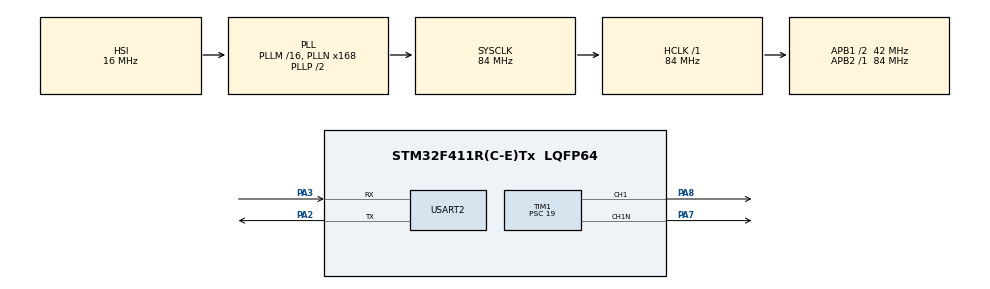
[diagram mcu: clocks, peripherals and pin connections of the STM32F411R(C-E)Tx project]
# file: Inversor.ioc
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Mcu.Family=STM32F4
Mcu.Name=STM32F411R(C-E)Tx
Mcu.Package=LQFP64
NVIC.PriorityGroup=NVIC_PRIORITYGROUP_4
NVIC.TIM1_TRG_COM_TIM11_IRQn=true\:0\:0\:false\:false\:true\:true
NVIC.TIM1_UP_TIM10_IRQn=true\:0\:0\:false\:false\:true\:true
PA2.Mode=Asynchronous
PA2.Signal=USART2_TX
PA3.Mode=Asynchronous
PA3.Signal=USART2_RX
PA7.Mode=PWM Generation1 CH1 CH1N
PA7.Signal=TIM1_CH1N
PA8.Signal=S_TIM1_CH1
ProjectManager.HeapSize=0x200
ProjectManager.StackSize=0x400
ProjectManager.TargetToolchain=SW4STM32
RCC.48MHZClocksFreq_Value=42000000
RCC.AHBFreq_Value=84000000
RCC.APB1CLKDivider=RCC_HCLK_DIV2
RCC.APB1Freq_Value=42000000
RCC.APB1TimFreq_Value=84000000
RCC.APB2Freq_Value=84000000
RCC.APB2TimFreq_Value=84000000
RCC.CortexFreq_Value=84000000
RCC.HCLKFreq_Value=84000000
RCC.HSE_VALUE=25000000
RCC.HSI_VALUE=16000000
RCC.LSE_VALUE=32768
RCC.PLLN=168
RCC.SYSCLKFreq_VALUE=84000000
RCC.SYSCLKSource=RCC_SYSCLKSOURCE_PLLCLK
RCC.VCOOutputFreq_Value=168000000
SH.S_TIM1_CH1.0=TIM1_CH1,PWM Generation1 CH1 CH1N
TIM1.AutomaticOutput=TIM_AUTOMATICOUTPUT_ENABLE
TIM1.Channel-PWM\ Generation1\ CH1\ CH1N=TIM_CHANNEL_1
TIM1.DeadTime=50
TIM1.Period=194
TIM1.Prescaler=19
TIM1.Pulse-PWM\ Generation1\ CH1\ CH1N=100
TIM11.Period=71
TIM11.Prescaler=99
USART2.VirtualMode=VM_ASYNC
VP_TIM11_VS_ClockSourceINT.Mode=Enable_Timer
VP_TIM1_VS_ClockSourceINT.Mode=Internal
board=custom

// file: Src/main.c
/**
 ******************************************************************************
 * @file           : main.c
 * @brief          : Main program body
 ******************************************************************************
 ** This notice applies to any and all portions of this file
 * that are not between comment pairs USER CODE BEGIN and
 * USER CODE END. Other portions of this file, whether
 * inserted by the user or by software development tools
 * are owned by their respective copyright owners.
 *
 * COPYRIGHT(c) 2018 STMicroelectronics
 *
 * Redistribution and use in source and binary forms, with or without modification,
 * are permitted provided that the following conditions are met:
 *   1. Redistributions of source code must retain the above copyright notice,
 *      this list of conditions and the following disclaimer.
 *   2. Redistributions in binary form must reproduce the above copyright notice,
 *      this list of conditions and the following disclaimer in the documentation
 *      and/or other materials provided with the distribution.
 *   3. Neither the name of STMicroelectronics nor the names of its contributors
 *      may be used to endorse or promote products derived from this software
 *      without specific prior written permission.
 *
 * THIS SOFTWARE IS PROVIDED BY THE COPYRIGHT HOLDERS AND CONTRIBUTORS "AS IS"
 * AND ANY EXPRESS OR IMPLIED WARRANTIES, INCLUDING, BUT NOT LIMITED TO, THE
 * IMPLIED WARRANTIES OF MERCHANTABILITY AND FITNESS FOR A PARTICULAR PURPOSE ARE
 * DISCLAIMED. IN NO EVENT SHALL THE COPYRIGHT HOLDER OR CONTRIBUTORS BE LIABLE
 * FOR ANY DIRECT, INDIRECT, INCIDENTAL, SPECIAL, EXEMPLARY, OR CONSEQUENTIAL
 * DAMAGES (INCLUDING, BUT NOT LIMITED TO, PROCUREMENT OF SUBSTITUTE GOODS OR
 * SERVICES; LOSS OF USE, DATA, OR PROFITS; OR BUSINESS INTERRUPTION) HOWEVER
 * CAUSED AND ON ANY THEORY OF LIABILITY, WHETHER IN CONTRACT, STRICT LIABILITY,
 * OR TORT (INCLUDING NEGLIGENCE OR OTHERWISE) ARISING IN ANY WAY OUT OF THE USE
 * OF THIS SOFTWARE, EVEN IF ADVISED OF THE POSSIBILITY OF SUCH DAMAGE.
 *
 ******************************************************************************
 */
#include "main.h"
#include "stm32f4xx_hal.h"

/* USER CODE BEGIN Includes */
#include "math.h"
/* USER CODE END Includes */

TIM_HandleTypeDef htim1;
TIM_HandleTypeDef htim11;

UART_HandleTypeDef huart2;

/* USER CODE BEGIN PV */
/* Private variables ---------------------------------------------------------*/
uint16_t tabela_valores[195] = { 0 };
int value = 0;
/* USER CODE END PV */

void SystemClock_Config(void);
static void MX_GPIO_Init(void);
static void MX_USART2_UART_Init(void);
static void MX_TIM1_Init(void);
static void MX_TIM11_Init(void);
void HAL_TIM_MspPostInit(TIM_HandleTypeDef *htim);

/* USER CODE BEGIN PFP */
/* Private function prototypes -----------------------------------------------*/

/*
 * This interruption is called whenever the TIM11 finishes, in order to update
 * the CCR register of TIM1, to change it's duty cycle
*/
HAL_TIM_PeriodElapsedCallback(TIM_HandleTypeDef *htim) {
	if (htim->Instance == TIM11) {
		value++;
		if (value >= 195)
			value = 0;
		__HAL_TIM_SET_COMPARE(&htim1, TIM_CHANNEL_1, tabela_valores[value]);
	}
}

/* USER CODE END PFP */

int main(void) {

	/* MCU Configuration----------------------------------------------------------*/

	/* Reset of all peripherals, Initializes the Flash interface and the Systick. */
	HAL_Init();

	/* Configure the system clock */
	SystemClock_Config();

	/* Initialize all configured peripherals */
	MX_GPIO_Init();
	MX_USART2_UART_Init();
	MX_TIM1_Init();
	MX_TIM11_Init();
	/* USER CODE BEGIN 2 */

	char freq[5];
	char texto[50];
	int freq_int, size;
	int cont = 0;

	//	Generate an array of points to use as the CCR of the TIM1
	for (float aux = 0; aux < 360; aux += (360. / 195.), cont++) {
		tabela_valores[cont] = (sin(aux * M_PI / 180) * 75) + 98;
	}

	//	Initialize the TIM11 with interruption
	HAL_TIM_Base_Start_IT(&htim11);

	/*	Starts the TIM1 in PWM mode, operating with channel 1 and channel 1
	 *  complementary.
	 *  This complementary channel is basically the PWM but inverted.
	 */
	HAL_TIMEx_PWMN_Start(&htim1, TIM_CHANNEL_1);
	HAL_TIM_PWM_Start_IT(&htim1, TIM_CHANNEL_1);

	__HAL_TIM_SET_COMPARE(&htim1, TIM_CHANNEL_1, tabela_valores[0]);
	/* USER CODE END 2 */

	/* Infinite loop */
	while (1) {

		/* USER CODE BEGIN 3 */

		/*	Checks if the ARM received some value through the serial to
		 *  update the frequency of TIM11
		 */
		if (HAL_UART_Receive(&huart2, freq, 3, 1) == HAL_OK) {

			freq_int = atoi(freq);
			size = sprintf(texto, "Frequência escolhida: %d\n", freq_int);
			HAL_UART_Transmit(&huart2, texto, size, 100);

			__HAL_TIM_SET_PRESCALER(&htim11, 6000 / freq_int);

		}
	}
	/* USER CODE END 3 */

}

void SystemClock_Config(void) {

	RCC_OscInitTypeDef RCC_OscInitStruct;
	RCC_ClkInitTypeDef RCC_ClkInitStruct;

	/**Configure the main internal regulator output voltage
	 */
	__HAL_RCC_PWR_CLK_ENABLE()
	;

	__HAL_PWR_VOLTAGESCALING_CONFIG(PWR_REGULATOR_VOLTAGE_SCALE1);

	/**Initializes the CPU, AHB and APB busses clocks
	 */
	RCC_OscInitStruct.OscillatorType = RCC_OSCILLATORTYPE_HSI;
	RCC_OscInitStruct.HSIState = RCC_HSI_ON;
	RCC_OscInitStruct.HSICalibrationValue = 16;
	RCC_OscInitStruct.PLL.PLLState = RCC_PLL_ON;
	RCC_OscInitStruct.PLL.PLLSource = RCC_PLLSOURCE_HSI;
	RCC_OscInitStruct.PLL.PLLM = 16;
	RCC_OscInitStruct.PLL.PLLN = 168;
	RCC_OscInitStruct.PLL.PLLP = RCC_PLLP_DIV2;
	RCC_OscInitStruct.PLL.PLLQ = 4;
	if (HAL_RCC_OscConfig(&RCC_OscInitStruct) != HAL_OK) {
		_Error_Handler(__FILE__, __LINE__);
	}

	/**Initializes the CPU, AHB and APB busses clocks
	 */
	RCC_ClkInitStruct.ClockType = RCC_CLOCKTYPE_HCLK | RCC_CLOCKTYPE_SYSCLK
			| RCC_CLOCKTYPE_PCLK1 | RCC_CLOCKTYPE_PCLK2;
	RCC_ClkInitStruct.SYSCLKSource = RCC_SYSCLKSOURCE_PLLCLK;
	RCC_ClkInitStruct.AHBCLKDivider = RCC_SYSCLK_DIV1;
	RCC_ClkInitStruct.APB1CLKDivider = RCC_HCLK_DIV2;
	RCC_ClkInitStruct.APB2CLKDivider = RCC_HCLK_DIV1;

	if (HAL_RCC_ClockConfig(&RCC_ClkInitStruct, FLASH_LATENCY_2) != HAL_OK) {
		_Error_Handler(__FILE__, __LINE__);
	}

	/**Configure the Systick interrupt time
	 */
	HAL_SYSTICK_Config(HAL_RCC_GetHCLKFreq() / 1000);

	/**Configure the Systick
	 */
	HAL_SYSTICK_CLKSourceConfig(SYSTICK_CLKSOURCE_HCLK);

	/* SysTick_IRQn interrupt configuration */
	HAL_NVIC_SetPriority(SysTick_IRQn, 0, 0);
}

/* TIM1 init function */
static void MX_TIM1_Init(void) {

	TIM_ClockConfigTypeDef sClockSourceConfig;
	TIM_MasterConfigTypeDef sMasterConfig;
	TIM_OC_InitTypeDef sConfigOC;
	TIM_BreakDeadTimeConfigTypeDef sBreakDeadTimeConfig;

	htim1.Instance = TIM1;
	htim1.Init.Prescaler = 19;
	htim1.Init.CounterMode = TIM_COUNTERMODE_UP;
	htim1.Init.Period = 194;
	htim1.Init.ClockDivision = TIM_CLOCKDIVISION_DIV1;
	htim1.Init.RepetitionCounter = 0;
	if (HAL_TIM_Base_Init(&htim1) != HAL_OK) {
		_Error_Handler(__FILE__, __LINE__);
	}

	sClockSourceConfig.ClockSource = TIM_CLOCKSOURCE_INTERNAL;
	if (HAL_TIM_ConfigClockSource(&htim1, &sClockSourceConfig) != HAL_OK) {
		_Error_Handler(__FILE__, __LINE__);
	}

	if (HAL_TIM_PWM_Init(&htim1) != HAL_OK) {
		_Error_Handler(__FILE__, __LINE__);
	}

	sMasterConfig.MasterOutputTrigger = TIM_TRGO_RESET;
	sMasterConfig.MasterSlaveMode = TIM_MASTERSLAVEMODE_DISABLE;
	if (HAL_TIMEx_MasterConfigSynchronization(&htim1, &sMasterConfig)
			!= HAL_OK) {
		_Error_Handler(__FILE__, __LINE__);
	}

	sConfigOC.OCMode = TIM_OCMODE_PWM1;
	sConfigOC.Pulse = 100;
	sConfigOC.OCPolarity = TIM_OCPOLARITY_HIGH;
	sConfigOC.OCNPolarity = TIM_OCNPOLARITY_HIGH;
	sConfigOC.OCFastMode = TIM_OCFAST_DISABLE;
	sConfigOC.OCIdleState = TIM_OCIDLESTATE_RESET;
	sConfigOC.OCNIdleState = TIM_OCNIDLESTATE_RESET;
	if (HAL_TIM_PWM_ConfigChannel(&htim1, &sConfigOC, TIM_CHANNEL_1)
			!= HAL_OK) {
		_Error_Handler(__FILE__, __LINE__);
	}

	sBreakDeadTimeConfig.OffStateRunMode = TIM_OSSR_DISABLE;
	sBreakDeadTimeConfig.OffStateIDLEMode = TIM_OSSI_DISABLE;
	sBreakDeadTimeConfig.LockLevel = TIM_LOCKLEVEL_OFF;
	sBreakDeadTimeConfig.DeadTime = 50;
	sBreakDeadTimeConfig.BreakState = TIM_BREAK_DISABLE;
	sBreakDeadTimeConfig.BreakPolarity = TIM_BREAKPOLARITY_HIGH;
	sBreakDeadTimeConfig.AutomaticOutput = TIM_AUTOMATICOUTPUT_ENABLE;
	if (HAL_TIMEx_ConfigBreakDeadTime(&htim1, &sBreakDeadTimeConfig)
			!= HAL_OK) {
		_Error_Handler(__FILE__, __LINE__);
	}

	HAL_TIM_MspPostInit(&htim1);

}

/* TIM11 init function */
static void MX_TIM11_Init(void) {

	htim11.Instance = TIM11;
	htim11.Init.Prescaler = 99;
	htim11.Init.CounterMode = TIM_COUNTERMODE_UP;
	htim11.Init.Period = 71;
	htim11.Init.ClockDivision = TIM_CLOCKDIVISION_DIV1;
	if (HAL_TIM_Base_Init(&htim11) != HAL_OK) {
		_Error_Handler(__FILE__, __LINE__);
	}

}

/* USART2 init function */
static void MX_USART2_UART_Init(void) {

	huart2.Instance = USART2;
	huart2.Init.BaudRate = 115200;
	huart2.Init.WordLength = UART_WORDLENGTH_8B;
	huart2.Init.StopBits = UART_STOPBITS_1;
	huart2.Init.Parity = UART_PARITY_NONE;
	huart2.Init.Mode = UART_MODE_TX_RX;
	huart2.Init.HwFlowCtl = UART_HWCONTROL_NONE;
	huart2.Init.OverSampling = UART_OVERSAMPLING_16;
	if (HAL_UART_Init(&huart2) != HAL_OK) {
		_Error_Handler(__FILE__, __LINE__);
	}

}

/** Pinout Configuration
 */
static void MX_GPIO_Init(void) {

	/* GPIO Ports Clock Enable */
	__HAL_RCC_GPIOA_CLK_ENABLE()
	;

}

void _Error_Handler(char *file, int line) {
	while (1) {
	}
}

/************************ (C) COPYRIGHT STMicroelectronics *****END OF FILE****/
